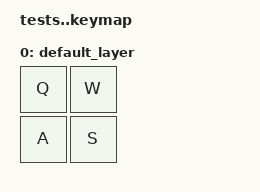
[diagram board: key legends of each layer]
/*
* tests.keymap
*/
#include <behaviors.dtsi>
#include <dt-bindings/zmk/hid_usage.h>
#include <dt-bindings/zmk/hid_usage_pages.h>
#include <dt-bindings/zmk/modifiers.h>
#include <dt-bindings/zmk/keys.h>

/ {
    keymap {
        compatible = "zmk,keymap";

        default_transform: keymap_transform_0 {
            compatible = "zmk,matrix-transform";
            rows = <2>;
            columns = <2>;
            map = <
                RC(0,0) RC(0,1)
            >;
        };

        default_layer {
            bindings = <
                &kp Q &kp W
                &kp A &kp S
            >;
        };
    };
};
